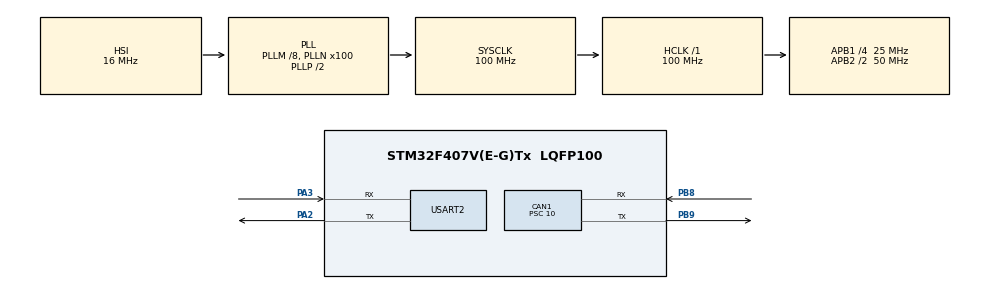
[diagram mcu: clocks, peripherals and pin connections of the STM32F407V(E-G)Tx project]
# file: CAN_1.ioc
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CAN1.ABOM=ENABLE
CAN1.BS1=CAN_BS1_16TQ
CAN1.BS2=CAN_BS2_3TQ
CAN1.CalculateBaudRate=125000
CAN1.CalculateTimeBit=8000
CAN1.CalculateTimeQuantum=400.0
CAN1.NART=ENABLE
CAN1.Prescaler=10
Mcu.Family=STM32F4
Mcu.Name=STM32F407V(E-G)Tx
Mcu.Package=LQFP100
NVIC.CAN1_RX0_IRQn=true\:0\:0\:false\:false\:true\:true\:true\:true
NVIC.CAN1_RX1_IRQn=true\:0\:0\:false\:false\:true\:true\:true\:true
NVIC.PriorityGroup=NVIC_PRIORITYGROUP_0
PA13.Mode=Serial_Wire
PA13.Signal=SYS_JTMS-SWDIO
PA14.Mode=Serial_Wire
PA14.Signal=SYS_JTCK-SWCLK
PA2.Mode=Asynchronous
PA2.Signal=USART2_TX
PA3.Mode=Asynchronous
PA3.Signal=USART2_RX
PB8.Mode=CAN_Activate
PB8.Signal=CAN1_RX
PB9.Mode=CAN_Activate
PB9.Signal=CAN1_TX
ProjectManager.HeapSize=0x200
ProjectManager.StackSize=0x400
ProjectManager.TargetToolchain=STM32CubeIDE
RCC.48MHZClocksFreq_Value=28571428.57142857
RCC.AHBFreq_Value=100000000
RCC.APB1CLKDivider=RCC_HCLK_DIV4
RCC.APB1Freq_Value=25000000
RCC.APB1TimFreq_Value=50000000
RCC.APB2CLKDivider=RCC_HCLK_DIV2
RCC.APB2Freq_Value=50000000
RCC.APB2TimFreq_Value=100000000
RCC.CortexFreq_Value=100000000
RCC.HCLKFreq_Value=100000000
RCC.HSE_VALUE=8000000
RCC.HSI_VALUE=16000000
RCC.PLLM=8
RCC.PLLN=100
RCC.PLLQ=7
RCC.SYSCLKFreq_VALUE=100000000
RCC.SYSCLKSource=RCC_SYSCLKSOURCE_PLLCLK
RCC.VCOOutputFreq_Value=200000000
USART2.VirtualMode=VM_ASYNC
board=STM32F407G-DISC1

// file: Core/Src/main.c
/* USER CODE BEGIN Header */
/**
  ******************************************************************************
  * @file           : main.c
  * @brief          : Main program body
  ******************************************************************************
  * @attention
  *
  * Copyright (c) 2026 STMicroelectronics.
  * All rights reserved.
  *
  * This software is licensed under terms that can be found in the LICENSE file
  * in the root directory of this software component.
  * If no LICENSE file comes with this software, it is provided AS-IS.
  *
  ******************************************************************************
  */
/* USER CODE END Header */
#include "main.h"

/* USER CODE BEGIN Includes */
#include <stdio.h>
#include <string.h>
#include "ota_metadata.h"

/* USER CODE END Includes */

/* USER CODE BEGIN PD */
#ifndef CAN_NODE_ID
#define CAN_NODE_ID 7U
#endif

#define CAN_TX_STD_ID             (0x120U + (CAN_NODE_ID & 0x7U))
#define CAN_HEARTBEAT_PERIOD_MS   1000U
#define OTA_CAN_ID_SYNC           0x320U
#define OTA_CAN_ID_START          0x321U
#define OTA_CAN_ID_DATA           0x322U
#define OTA_CAN_ID_END            0x323U
#define OTA_CAN_ID_ACK            0x324U
#define OTA_CAN_ID_NACK           0x325U
#define OTA_CAN_ID_QUERY          0x326U
#define OTA_CAN_ID_STATUS         0x327U

#define OTA_QUERY_ACTIVE_STATUS   0U
#define OTA_QUERY_SLOT_A_META     1U
#define OTA_QUERY_SLOT_B_META     2U

#define OTA_SYNC_TOKEN_0          'O'
#define OTA_SYNC_TOKEN_1          'T'
#define OTA_SYNC_TOKEN_2          'A'
#define OTA_SYNC_TOKEN_3          'S'
#define OTA_SYNC_TOKEN_4          'Y'
#define OTA_SYNC_TOKEN_5          'N'
#define OTA_SYNC_TOKEN_6          'C'
#define OTA_SYNC_TOKEN_7          '!'

#define OTA_FOOTER_MAGIC          0x454E4431U
#define OTA_DATA_SEQ_BYTES        2U
#define OTA_DATA_PAYLOAD_SIZE     4U

#define OTA_RX_STATE_IDLE         0U
#define OTA_RX_STATE_WAIT_HEADER  1U
#define OTA_RX_STATE_RECEIVING    2U
#define OTA_RX_STATE_DONE         3U

#define OTA_ERR_OK                0U
#define OTA_ERR_PROTOCOL          1U
#define OTA_ERR_FLASH             2U
#define OTA_ERR_SIZE              3U
#define OTA_ERR_CRC               4U
#define LED_TX_Pin                GPIO_PIN_12
#define LED_RX_Pin                GPIO_PIN_15
#define LED_ERROR_Pin             GPIO_PIN_14
#define LED_GPIO_Port             GPIOD

/* USER CODE END PD */

CAN_HandleTypeDef hcan1;
UART_HandleTypeDef huart2;

/* USER CODE BEGIN PV */

//===================================

//===================================
static volatile uint8_t canRxDebugPending;
static CAN_RxHeaderTypeDef canRxDebugHeader;
static uint8_t canRxDebugData[8];
static volatile uint8_t canFrameReady;
static volatile CAN_RxHeaderTypeDef canFrameHeader;
static volatile uint8_t canFrameData[8];

static uint8_t otaRxState;
static uint32_t otaExpectedSize;
static uint32_t otaExpectedCrc;
static uint32_t otaExpectedVersion;
static uint32_t otaReceivedSize;
static uint32_t otaRunningCrc;
static uint32_t otaWriteAddress;
static uint16_t otaExpectedDataSeq;
static uint32_t otaTargetSlot;
static uint32_t otaTargetSlotBase;
static uint32_t otaTargetSlotSize;
static uint32_t otaTargetSlotSector;
static uint32_t otaTargetSlotSectorCount;
static uint8_t otaRebootPending;
static uint32_t otaRebootTick;

/* USER CODE END PV */

void SystemClock_Config(void);
static void MX_GPIO_Init(void);
static void MX_CAN1_Init(void);
static void MX_USART2_UART_Init(void);
/* USER CODE BEGIN PFP */
static void CAN_App_Init(void);
static void Debug_PrintLine(const char *line);
static void Debug_PrintCanFrame(const char *label, uint32_t stdId, uint32_t dlc, const uint8_t *data);
static void CAN_PrintPendingRxFrame(void);
static void OTA_Init(void);
static void OTA_ProcessIncomingFrame(void);
static uint32_t OTA_Crc32_Update(uint32_t runningCrc, const uint8_t *data, uint32_t length);
static void OTA_SelectTargetSlot(void);
static HAL_StatusTypeDef OTA_EraseTargetSlot(void);
static HAL_StatusTypeDef OTA_WriteChunk(uint32_t address, const uint8_t *data, uint32_t length);
static void OTA_SendStatusFrame(uint32_t stdId, uint8_t code, uint32_t value);
static void OTA_SendRawFrame(uint32_t stdId, const uint8_t *data, uint8_t dlc);
static void OTA_ConfirmPendingImageEarly(void);

/* USER CODE END PFP */

int main(void)
{

  /* MCU Configuration--------------------------------------------------------*/

  /* Reset of all peripherals, Initializes the Flash interface and the Systick. */
  HAL_Init();

  /* Confirm as early as possible to survive resets before full peripheral bring-up. */
  OTA_ConfirmPendingImageEarly();

  /* Configure the system clock */
  SystemClock_Config();

  /* Initialize all configured peripherals */
  MX_GPIO_Init();
  MX_CAN1_Init();
  MX_USART2_UART_Init();
  /* USER CODE BEGIN 2 */
  CAN_App_Init();
  Debug_PrintLine("CAN debug UART ready\r\n");
  Debug_PrintLine("Build: OTA RX\r\n");
  OTA_Init();
  uint32_t lastAppBlinkTick = HAL_GetTick();
  HAL_UART_Transmit(&huart2, (uint8_t *)"GPIO_PIN_15 Blinking SLOT B\r\n",30U,100U);

 //========================================================================

//=======================================================

  /* USER CODE END 2 */

  /* Infinite loop */
  while (1)
  {

    /* USER CODE BEGIN 3 */
    CAN_PrintPendingRxFrame();
    OTA_ProcessIncomingFrame();
    if ((HAL_GetTick() - lastAppBlinkTick) >= 1000U)
    {
      lastAppBlinkTick += 1000U;

      // HAL_GPIO_TogglePin(LED_GPIO_Port, LED_TX_Pin);
      // HAL_GPIO_TogglePin(LED_GPIO_Port, GPIO_PIN_13);
      // HAL_GPIO_TogglePin(LED_GPIO_Port, GPIO_PIN_14);
      HAL_GPIO_TogglePin(LED_GPIO_Port, GPIO_PIN_15);
      HAL_Delay(50);

    }
    // if ((HAL_GetTick() - lastRxStatusTick) >= 2000U)
    // {
    //   lastRxStatusTick += 2000U;
    //   Debug_PrintLine("OTA RX waiting\r\n");
    // }

    if ((otaRebootPending != 0U) && ((int32_t)(HAL_GetTick() - otaRebootTick) >= 0))
    {
      HAL_Delay(20U);
      NVIC_SystemReset();
    }
//=====================================================================================================

//==========================================================================
  }
  /* USER CODE END 3 */
}

void SystemClock_Config(void)
{
  RCC_OscInitTypeDef RCC_OscInitStruct = {0};
  RCC_ClkInitTypeDef RCC_ClkInitStruct = {0};

  /** Configure the main internal regulator output voltage
  */
  __HAL_RCC_PWR_CLK_ENABLE();
  __HAL_PWR_VOLTAGESCALING_CONFIG(PWR_REGULATOR_VOLTAGE_SCALE1);

  /** Initializes the RCC Oscillators according to the specified parameters
  * in the RCC_OscInitTypeDef structure.
  */
  RCC_OscInitStruct.OscillatorType = RCC_OSCILLATORTYPE_HSI;
  RCC_OscInitStruct.HSIState = RCC_HSI_ON;
  RCC_OscInitStruct.HSICalibrationValue = RCC_HSICALIBRATION_DEFAULT;
  RCC_OscInitStruct.PLL.PLLState = RCC_PLL_ON;
  RCC_OscInitStruct.PLL.PLLSource = RCC_PLLSOURCE_HSI;
  RCC_OscInitStruct.PLL.PLLM = 8;
  RCC_OscInitStruct.PLL.PLLN = 100;
  RCC_OscInitStruct.PLL.PLLP = RCC_PLLP_DIV2;
  RCC_OscInitStruct.PLL.PLLQ = 7;
  if (HAL_RCC_OscConfig(&RCC_OscInitStruct) != HAL_OK)
  {
    Error_Handler();
  }

  /** Initializes the CPU, AHB and APB buses clocks
  */
  RCC_ClkInitStruct.ClockType = RCC_CLOCKTYPE_HCLK|RCC_CLOCKTYPE_SYSCLK
                              |RCC_CLOCKTYPE_PCLK1|RCC_CLOCKTYPE_PCLK2;
  RCC_ClkInitStruct.SYSCLKSource = RCC_SYSCLKSOURCE_PLLCLK;
  RCC_ClkInitStruct.AHBCLKDivider = RCC_SYSCLK_DIV1;
  RCC_ClkInitStruct.APB1CLKDivider = RCC_HCLK_DIV4;
  RCC_ClkInitStruct.APB2CLKDivider = RCC_HCLK_DIV2;

  if (HAL_RCC_ClockConfig(&RCC_ClkInitStruct, FLASH_LATENCY_3) != HAL_OK)
  {
    Error_Handler();
  }
}

static void MX_CAN1_Init(void)
{

  hcan1.Instance = CAN1;
  hcan1.Init.Prescaler = 10;
  hcan1.Init.Mode = CAN_MODE_NORMAL;
  hcan1.Init.SyncJumpWidth = CAN_SJW_1TQ;
  hcan1.Init.TimeSeg1 = CAN_BS1_16TQ;
  hcan1.Init.TimeSeg2 = CAN_BS2_3TQ;
  hcan1.Init.TimeTriggeredMode = DISABLE;
  hcan1.Init.AutoBusOff = ENABLE;
  hcan1.Init.AutoWakeUp = DISABLE;
  hcan1.Init.AutoRetransmission = ENABLE;
  hcan1.Init.ReceiveFifoLocked = DISABLE;
  hcan1.Init.TransmitFifoPriority = DISABLE;
  if (HAL_CAN_Init(&hcan1) != HAL_OK)
  {
    Error_Handler();
  }

}

static void MX_USART2_UART_Init(void)
{

  huart2.Instance = USART2;
  huart2.Init.BaudRate = 115200;
  huart2.Init.WordLength = UART_WORDLENGTH_8B;
  huart2.Init.StopBits = UART_STOPBITS_1;
  huart2.Init.Parity = UART_PARITY_NONE;
  huart2.Init.Mode = UART_MODE_TX_RX;
  huart2.Init.HwFlowCtl = UART_HWCONTROL_NONE;
  huart2.Init.OverSampling = UART_OVERSAMPLING_16;
  if (HAL_UART_Init(&huart2) != HAL_OK)
  {
    Error_Handler();
  }

}

static void MX_GPIO_Init(void)
{
  /* USER CODE BEGIN MX_GPIO_Init_1 */
  /* Enable GPIOE clock for CS pin */
  __HAL_RCC_GPIOE_CLK_ENABLE();
  /* USER CODE END MX_GPIO_Init_1 */

  /* GPIO Ports Clock Enable */
  __HAL_RCC_GPIOA_CLK_ENABLE();
  __HAL_RCC_GPIOB_CLK_ENABLE();

  /* USER CODE BEGIN MX_GPIO_Init_2 */
  __HAL_RCC_GPIOD_CLK_ENABLE();

  GPIO_InitTypeDef GPIO_InitStruct = {0};
  GPIO_InitStruct.Pin = GPIO_PIN_13|GPIO_PIN_14|GPIO_PIN_15|GPIO_PIN_12;
  GPIO_InitStruct.Mode = GPIO_MODE_OUTPUT_PP;
  GPIO_InitStruct.Pull = GPIO_NOPULL;
  GPIO_InitStruct.Speed = GPIO_SPEED_FREQ_LOW;
  HAL_GPIO_Init(LED_GPIO_Port, &GPIO_InitStruct);

  HAL_GPIO_WritePin(LED_GPIO_Port, GPIO_PIN_13|GPIO_PIN_14|GPIO_PIN_15|GPIO_PIN_12, GPIO_PIN_RESET);

}

/* USER CODE BEGIN 4 */
static void Debug_PrintLine(const char *line)
{
  HAL_UART_Transmit(&huart2, (uint8_t *)line, (uint16_t)strlen(line), 100U);
}

static void OTA_ConfirmPendingImageEarly(void)
{
  OtaMetadata_t meta;

  if ((OtaMetadata_Load(&meta) != 0U) && (meta.updateInProgress != 0U))
  {
    (void)OtaMetadata_ConfirmActiveImage();
  }
}

static void Debug_PrintCanFrame(const char *label, uint32_t stdId, uint32_t dlc, const uint8_t *data)
{
  char line[128];
  int length = snprintf(line, sizeof(line),
                        "%s ID=0x%03lX DLC=%lu DATA=%02X %02X %02X %02X %02X %02X %02X %02X\r\n",
                        label,
                        (unsigned long)stdId,
                        (unsigned long)dlc,
                        data[0], data[1], data[2], data[3],
                        data[4], data[5], data[6], data[7]);

  if (length > 0)
  {
    size_t bytesToSend = (length < (int)sizeof(line)) ? (size_t)length : strlen(line);
    HAL_UART_Transmit(&huart2, (uint8_t *)line, (uint16_t)bytesToSend, 100U);
  }
}

static void CAN_App_Init(void)
{
  CAN_FilterTypeDef canFilterConfig = {0};

  canFilterConfig.FilterBank = 0;
  canFilterConfig.FilterMode = CAN_FILTERMODE_IDMASK;
  canFilterConfig.FilterScale = CAN_FILTERSCALE_32BIT;
  canFilterConfig.FilterIdHigh = 0x0000;
  canFilterConfig.FilterIdLow = 0x0000;
  canFilterConfig.FilterMaskIdHigh = 0x0000;
  canFilterConfig.FilterMaskIdLow = 0x0000;
  canFilterConfig.FilterFIFOAssignment = CAN_RX_FIFO0;
  canFilterConfig.FilterActivation = ENABLE;
  canFilterConfig.SlaveStartFilterBank = 14;

  if (HAL_CAN_ConfigFilter(&hcan1, &canFilterConfig) != HAL_OK)
  {
    Error_Handler();
  }

  if (HAL_CAN_Start(&hcan1) != HAL_OK)
  {
    Error_Handler();
  }

  if (HAL_CAN_ActivateNotification(&hcan1, CAN_IT_RX_FIFO0_MSG_PENDING | CAN_IT_BUSOFF | CAN_IT_ERROR) != HAL_OK)
  {
    Error_Handler();
  }
}

void HAL_CAN_RxFifo0MsgPendingCallback(CAN_HandleTypeDef *hcan)
{
  CAN_RxHeaderTypeDef rxHeader;
  uint8_t rxData[8];

  if (hcan->Instance != CAN1)
  {
    return;
  }

  if (HAL_CAN_GetRxMessage(hcan, CAN_RX_FIFO0, &rxHeader, rxData) != HAL_OK)
  {
    HAL_GPIO_TogglePin(LED_GPIO_Port, LED_ERROR_Pin);
    return;
  }

  if ((rxHeader.IDE == CAN_ID_STD) && (rxHeader.RTR == CAN_RTR_DATA))
  {
    canRxDebugHeader = rxHeader;
    memcpy(canRxDebugData, rxData, sizeof(canRxDebugData));
    canRxDebugPending = 1U;

    if (canFrameReady == 0U)
    {
      canFrameHeader = rxHeader;
      memcpy((void *)canFrameData, rxData, sizeof(canFrameData));
      canFrameReady = 1U;
    }

    HAL_GPIO_TogglePin(LED_GPIO_Port, LED_RX_Pin);
  }
}

static void CAN_PrintPendingRxFrame(void)
{
  CAN_RxHeaderTypeDef rxHeader;
  uint8_t rxData[8];

  if (canRxDebugPending == 0U)
  {
    return;
  }

  __disable_irq();
  rxHeader = canRxDebugHeader;
  memcpy(rxData, canRxDebugData, sizeof(rxData));
  canRxDebugPending = 0U;
  __enable_irq();

  Debug_PrintCanFrame("RX", rxHeader.StdId, rxHeader.DLC, rxData);
}

void HAL_CAN_ErrorCallback(CAN_HandleTypeDef *hcan)
{
  if (hcan->Instance == CAN1)
  {
    HAL_GPIO_TogglePin(LED_GPIO_Port, LED_ERROR_Pin);

  }
}

static void OTA_Init(void)
{
  otaRxState = OTA_RX_STATE_IDLE;
  otaExpectedSize = 0U;
  otaExpectedCrc = 0U;
  otaExpectedVersion = 0U;
  otaReceivedSize = 0U;
  otaRunningCrc = 0xFFFFFFFFU;
  otaWriteAddress = 0U;
  otaExpectedDataSeq = 0U;
  otaTargetSlot = OTA_SLOT_B;
  otaTargetSlotBase = OTA_APP_SLOT_B_ADDRESS;
  otaTargetSlotSize = OTA_APP_SLOT_B_SIZE_BYTES;
  otaTargetSlotSector = FLASH_SECTOR_6;
  otaTargetSlotSectorCount = 2U;
  otaRebootPending = 0U;
  otaRebootTick = 0U;
}

static void OTA_SelectTargetSlot(void)
{
  OtaMetadata_t metadata;
  uint8_t metadataValid;
  uint32_t activeSlot = OTA_SLOT_A;

  memcpy(&metadata, &gOtaMetadataDefault, sizeof(OtaMetadata_t));
  metadataValid = OtaMetadata_Load(&metadata);

  if (metadataValid != 0U)
  {
    if ((metadata.activeSlot == OTA_SLOT_A) || (metadata.activeSlot == OTA_SLOT_B))
    {
      activeSlot = metadata.activeSlot;
    }
  }

  otaTargetSlot = (activeSlot == OTA_SLOT_A) ? OTA_SLOT_B : OTA_SLOT_A;

  if (otaTargetSlot == OTA_SLOT_A)
  {
    otaTargetSlotBase = OTA_APP_SLOT_A_ADDRESS;
    otaTargetSlotSize = OTA_APP_SLOT_A_SIZE_BYTES;
    otaTargetSlotSector = FLASH_SECTOR_4;
    otaTargetSlotSectorCount = 2U;
    otaExpectedVersion = metadata.appAVersion + 1U;
  }
  else
  {
    otaTargetSlotBase = OTA_APP_SLOT_B_ADDRESS;
    otaTargetSlotSize = OTA_APP_SLOT_B_SIZE_BYTES;
    otaTargetSlotSector = FLASH_SECTOR_6;
    otaTargetSlotSectorCount = 2U;
    otaExpectedVersion = metadata.appBVersion + 1U;
  }
}

static uint32_t OTA_Crc32_Update(uint32_t runningCrc, const uint8_t *data, uint32_t length)
{
  uint32_t crc = runningCrc;
  uint32_t i;

  for (i = 0U; i < length; i++)
  {
    uint32_t value = data[i];
    uint32_t bit;
    crc ^= value;
    for (bit = 0U; bit < 8U; bit++)
    {
      uint32_t mask = (uint32_t)(-(int32_t)(crc & 1U));
      crc = (crc >> 1U) ^ (0xEDB88320U & mask);
    }
  }

  return crc;
}

static HAL_StatusTypeDef OTA_EraseTargetSlot(void)
{
  FLASH_EraseInitTypeDef eraseConfig = {0};
  uint32_t sectorError = 0U;
  HAL_StatusTypeDef status;

  eraseConfig.TypeErase = FLASH_TYPEERASE_SECTORS;
  eraseConfig.VoltageRange = FLASH_VOLTAGE_RANGE_3;
  eraseConfig.Sector = otaTargetSlotSector;
  eraseConfig.NbSectors = otaTargetSlotSectorCount;

  HAL_FLASH_Unlock();
  status = HAL_FLASHEx_Erase(&eraseConfig, &sectorError);
  HAL_FLASH_Lock();

  return (status == HAL_OK) ? HAL_OK : HAL_ERROR;
}

static HAL_StatusTypeDef OTA_WriteChunk(uint32_t address, const uint8_t *data, uint32_t length)
{
  uint32_t i;
  uint32_t paddedLength = (length + 3U) & ~3U;
  uint8_t localBuffer[OTA_DATA_PAYLOAD_SIZE] = {0};

  if (length > sizeof(localBuffer))
  {
    return HAL_ERROR;
  }

  memcpy(localBuffer, data, length);

  HAL_FLASH_Unlock();
  for (i = 0U; i < paddedLength; i += 4U)
  {
    uint32_t word = ((uint32_t)localBuffer[i + 0U] << 0U) |
                    ((uint32_t)localBuffer[i + 1U] << 8U) |
                    ((uint32_t)localBuffer[i + 2U] << 16U) |
                    ((uint32_t)localBuffer[i + 3U] << 24U);

    if (HAL_FLASH_Program(FLASH_TYPEPROGRAM_WORD, address + i, word) != HAL_OK)
    {
      HAL_FLASH_Lock();
      return HAL_ERROR;
    }
  }
  HAL_FLASH_Lock();

  return HAL_OK;
}

static void OTA_SendStatusFrame(uint32_t stdId, uint8_t code, uint32_t value)
{
  uint8_t payload[8];

  payload[0] = code;
  payload[1] = (uint8_t)(value >> 0U);
  payload[2] = (uint8_t)(value >> 8U);
  payload[3] = (uint8_t)(value >> 16U);
  payload[4] = (uint8_t)(value >> 24U);
  payload[5] = 0U;
  payload[6] = 0U;
  payload[7] = 0U;

  OTA_SendRawFrame(stdId, payload, 8U);
}

static void OTA_SendRawFrame(uint32_t stdId, const uint8_t *data, uint8_t dlc)
{
  CAN_TxHeaderTypeDef txHeader = {0};
  uint32_t mailbox;

  txHeader.StdId = stdId;
  txHeader.IDE = CAN_ID_STD;
  txHeader.RTR = CAN_RTR_DATA;
  txHeader.DLC = dlc;
  txHeader.TransmitGlobalTime = DISABLE;

  (void)HAL_CAN_AddTxMessage(&hcan1, &txHeader, (uint8_t *)data, &mailbox);
}

static void OTA_ProcessIncomingFrame(void)
{
  CAN_RxHeaderTypeDef header;
  uint8_t data[8];
  uint32_t payloadLen;
  uint16_t rxSeq;

  if (canFrameReady == 0U)
  {
    return;
  }

  __disable_irq();
  header = canFrameHeader;
  memcpy(data, (const void *)canFrameData, sizeof(data));
  canFrameReady = 0U;
  __enable_irq();

  if (header.DLC > 8U)
  {
    OTA_SendStatusFrame(OTA_CAN_ID_NACK, OTA_ERR_PROTOCOL, 0U);
    return;
  }

  if (header.StdId == OTA_CAN_ID_QUERY)
  {
    OtaMetadata_t metadata;
    uint8_t payload[8] = {0};

    if ((header.DLC != 1U) || (OtaMetadata_Load(&metadata) == 0U))
    {
      memcpy(&metadata, &gOtaMetadataDefault, sizeof(metadata));
    }

    if (header.DLC != 1U)
    {
      OTA_SendStatusFrame(OTA_CAN_ID_NACK, OTA_ERR_PROTOCOL, 0U);
      return;
    }

    if (data[0] == OTA_QUERY_ACTIVE_STATUS)
    {
      payload[0] = (uint8_t)metadata.activeSlot;
      payload[1] = (uint8_t)metadata.bootSlot;
      payload[2] = (uint8_t)metadata.confirmedSlot;
      payload[3] = (uint8_t)metadata.updateInProgress;
      payload[4] = (uint8_t)metadata.bootAttemptCount;
      payload[5] = (uint8_t)metadata.maxBootAttempts;
      payload[6] = (uint8_t)metadata.lastErrorCode;
      payload[7] = (uint8_t)metadata.metadataVersion;
      OTA_SendRawFrame(OTA_CAN_ID_STATUS, payload, 8U);
      return;
    }

    if (data[0] == OTA_QUERY_SLOT_A_META)
    {
      payload[0] = (uint8_t)(metadata.appASizeBytes >> 0U);
      payload[1] = (uint8_t)(metadata.appASizeBytes >> 8U);
      payload[2] = (uint8_t)(metadata.appASizeBytes >> 16U);
      payload[3] = (uint8_t)(metadata.appASizeBytes >> 24U);
      payload[4] = (uint8_t)(metadata.appACrc32 >> 0U);
      payload[5] = (uint8_t)(metadata.appACrc32 >> 8U);
      payload[6] = (uint8_t)(metadata.appACrc32 >> 16U);
      payload[7] = (uint8_t)(metadata.appACrc32 >> 24U);
      OTA_SendRawFrame(OTA_CAN_ID_STATUS, payload, 8U);
      return;
    }

    if (data[0] == OTA_QUERY_SLOT_B_META)
    {
      payload[0] = (uint8_t)(metadata.appBSizeBytes >> 0U);
      payload[1] = (uint8_t)(metadata.appBSizeBytes >> 8U);
      payload[2] = (uint8_t)(metadata.appBSizeBytes >> 16U);
      payload[3] = (uint8_t)(metadata.appBSizeBytes >> 24U);
      payload[4] = (uint8_t)(metadata.appBCrc32 >> 0U);
      payload[5] = (uint8_t)(metadata.appBCrc32 >> 8U);
      payload[6] = (uint8_t)(metadata.appBCrc32 >> 16U);
      payload[7] = (uint8_t)(metadata.appBCrc32 >> 24U);
      OTA_SendRawFrame(OTA_CAN_ID_STATUS, payload, 8U);
      return;
    }

    OTA_SendStatusFrame(OTA_CAN_ID_NACK, OTA_ERR_PROTOCOL, data[0]);
    return;
  }

  if (header.StdId == OTA_CAN_ID_SYNC)
  {
    if ((header.DLC == 8U) &&
        (data[0] == (uint8_t)OTA_SYNC_TOKEN_0) &&
        (data[1] == (uint8_t)OTA_SYNC_TOKEN_1) &&
        (data[2] == (uint8_t)OTA_SYNC_TOKEN_2) &&
        (data[3] == (uint8_t)OTA_SYNC_TOKEN_3) &&
        (data[4] == (uint8_t)OTA_SYNC_TOKEN_4) &&
        (data[5] == (uint8_t)OTA_SYNC_TOKEN_5) &&
        (data[6] == (uint8_t)OTA_SYNC_TOKEN_6) &&
        (data[7] == (uint8_t)OTA_SYNC_TOKEN_7))
    {
      OTA_Init();
      OTA_SelectTargetSlot();
      otaRxState = OTA_RX_STATE_WAIT_HEADER;
      OTA_SendStatusFrame(OTA_CAN_ID_ACK, OTA_ERR_OK, otaTargetSlot);
      Debug_PrintLine("OTA sync accepted\r\n");
    }
    else
    {
      OTA_SendStatusFrame(OTA_CAN_ID_NACK, OTA_ERR_PROTOCOL, 0U);
    }
    return;
  }

  if (header.StdId == OTA_CAN_ID_START)
  {
    uint32_t rxSize = ((uint32_t)data[0] << 0U) |
                      ((uint32_t)data[1] << 8U) |
                      ((uint32_t)data[2] << 16U) |
                      ((uint32_t)data[3] << 24U);
    uint32_t rxCrc = ((uint32_t)data[4] << 0U) |
                     ((uint32_t)data[5] << 8U) |
                     ((uint32_t)data[6] << 16U) |
                     ((uint32_t)data[7] << 24U);

    // Idempotent START: if sender retries START while we already moved to
    // RECEIVING and no data has been written yet, ACK it again instead of NACK.
    if ((otaRxState == OTA_RX_STATE_RECEIVING) &&
        (otaReceivedSize == 0U) &&
        (otaExpectedSize == rxSize) &&
        (otaExpectedCrc == rxCrc))
    {
      OTA_SendStatusFrame(OTA_CAN_ID_ACK, OTA_ERR_OK, otaExpectedSize);
      return;
    }

    if (otaRxState != OTA_RX_STATE_WAIT_HEADER)
    {
      OTA_SendStatusFrame(OTA_CAN_ID_NACK, OTA_ERR_PROTOCOL, 0U);
      return;
    }

    otaExpectedSize = rxSize;
    otaExpectedCrc = rxCrc;

    if ((otaExpectedSize == 0U) || (otaExpectedSize > otaTargetSlotSize))
    {
      OTA_SendStatusFrame(OTA_CAN_ID_NACK, OTA_ERR_SIZE, otaExpectedSize);
      (void)OtaMetadata_RecordLastError(OTA_UPDATE_ERROR_SIZE);
      OTA_Init();
      return;
    }

    if (OTA_EraseTargetSlot() != HAL_OK)
    {
      OTA_SendStatusFrame(OTA_CAN_ID_NACK, OTA_ERR_FLASH, 0U);
      (void)OtaMetadata_RecordLastError(OTA_UPDATE_ERROR_FLASH);
      OTA_Init();
      return;
    }

    otaRxState = OTA_RX_STATE_RECEIVING;
    otaReceivedSize = 0U;
    otaRunningCrc = 0xFFFFFFFFU;
    otaWriteAddress = otaTargetSlotBase;
    OTA_SendStatusFrame(OTA_CAN_ID_ACK, OTA_ERR_OK, otaExpectedSize);
    return;
  }

  if (header.StdId == OTA_CAN_ID_DATA)
  {
    if (otaRxState != OTA_RX_STATE_RECEIVING)
    {
      OTA_SendStatusFrame(OTA_CAN_ID_NACK, OTA_ERR_PROTOCOL, 0U);
      return;
    }

    if (header.DLC <= OTA_DATA_SEQ_BYTES)
    {
      OTA_SendStatusFrame(OTA_CAN_ID_NACK, OTA_ERR_PROTOCOL, 0U);
      OTA_Init();
      return;
    }

    rxSeq = ((uint16_t)data[0] << 0U) |
            ((uint16_t)data[1] << 8U);

    if (rxSeq != otaExpectedDataSeq)
    {
      OTA_SendStatusFrame(OTA_CAN_ID_NACK, OTA_ERR_PROTOCOL, otaExpectedDataSeq);
      OTA_Init();
      return;
    }

    payloadLen = header.DLC - OTA_DATA_SEQ_BYTES;
    if ((otaReceivedSize + payloadLen) > otaExpectedSize)
    {
      OTA_SendStatusFrame(OTA_CAN_ID_NACK, OTA_ERR_SIZE, otaReceivedSize);
      (void)OtaMetadata_RecordLastError(OTA_UPDATE_ERROR_SIZE);
      OTA_Init();
      return;
    }

    if (OTA_WriteChunk(otaWriteAddress, &data[OTA_DATA_SEQ_BYTES], payloadLen) != HAL_OK)
    {
      OTA_SendStatusFrame(OTA_CAN_ID_NACK, OTA_ERR_FLASH, otaReceivedSize);
      (void)OtaMetadata_RecordLastError(OTA_UPDATE_ERROR_FLASH);
      OTA_Init();
      return;
    }

    otaRunningCrc = OTA_Crc32_Update(otaRunningCrc, &data[OTA_DATA_SEQ_BYTES], payloadLen);
    otaReceivedSize += payloadLen;
    otaExpectedDataSeq++;
    otaWriteAddress += ((payloadLen + 3U) & ~3U);
    OTA_SendStatusFrame(OTA_CAN_ID_ACK, OTA_ERR_OK, otaReceivedSize);
    return;
  }

  if (header.StdId == OTA_CAN_ID_END)
  {
    uint32_t finalCrc;
    uint32_t footerMagic;
    uint32_t footerSize;

    if (otaRxState != OTA_RX_STATE_RECEIVING)
    {
      OTA_SendStatusFrame(OTA_CAN_ID_NACK, OTA_ERR_PROTOCOL, 0U);
      return;
    }

    if (header.DLC != 8U)
    {
      OTA_SendStatusFrame(OTA_CAN_ID_NACK, OTA_ERR_PROTOCOL, 0U);
      OTA_Init();
      return;
    }

    footerMagic = ((uint32_t)data[0] << 0U) |
                  ((uint32_t)data[1] << 8U) |
                  ((uint32_t)data[2] << 16U) |
                  ((uint32_t)data[3] << 24U);
    footerSize = ((uint32_t)data[4] << 0U) |
                 ((uint32_t)data[5] << 8U) |
                 ((uint32_t)data[6] << 16U) |
                 ((uint32_t)data[7] << 24U);

    if ((footerMagic != OTA_FOOTER_MAGIC) || (footerSize != otaExpectedSize))
    {
      OTA_SendStatusFrame(OTA_CAN_ID_NACK, OTA_ERR_PROTOCOL, footerSize);
      OTA_Init();
      return;
    }

    finalCrc = ~otaRunningCrc;
    if ((otaReceivedSize != otaExpectedSize) || (finalCrc != otaExpectedCrc))
    {
      OTA_SendStatusFrame(OTA_CAN_ID_NACK, OTA_ERR_CRC, finalCrc);
      (void)OtaMetadata_RecordLastError(OTA_UPDATE_ERROR_CRC);
      OTA_Init();
      return;
    }

    if (OtaMetadata_SetUpdatePending(otaTargetSlot, otaExpectedSize, finalCrc, otaExpectedVersion) != HAL_OK)
    {
      OTA_SendStatusFrame(OTA_CAN_ID_NACK, OTA_ERR_FLASH, 0U);
      OTA_Init();
      return;
    }

    otaRxState = OTA_RX_STATE_DONE;
    OTA_SendStatusFrame(OTA_CAN_ID_ACK, OTA_ERR_OK, finalCrc);
    if (otaTargetSlot == OTA_SLOT_A)
    {
      Debug_PrintLine("OTA image stored in Slot A\r\n");
    }
    else
    {
      Debug_PrintLine("OTA image stored in Slot B\r\n");
    }

    Debug_PrintLine("OTA success. Rebooting to bootloader...\r\n");
    otaRebootPending = 1U;
    otaRebootTick = HAL_GetTick() + 300U;
    return;
  }
}

/* USER CODE END 4 */

void Error_Handler(void)
{
  __disable_irq();
  while (1)
  {
  }
}
